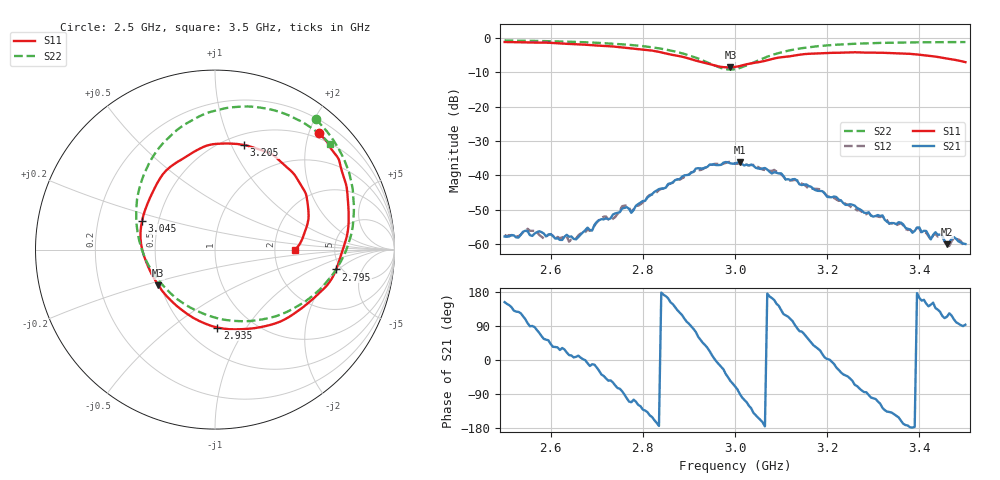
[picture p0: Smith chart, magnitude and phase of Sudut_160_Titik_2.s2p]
# Hz S RI R 50
! CMT, C1220, 16058040, 17.2.0/1
! Date: 15/08/2018 10:50:10
! Data: Format (Calibration Info)
! Freq  S11: Re/Im (F2)  S21: Re/Im (F2)  S12: Re/Im (F2)  S22: Re/Im (F2)
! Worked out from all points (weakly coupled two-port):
!   201 points, 2.5 GHz to 3.5 GHz, reference 50 ohm
!   highest |S21| = -36.12 dB at 3.01 GHz (marker M1); lowest = -60.1 dB at 3.46 GHz (marker M2)
!   lowest |S11| = -8.6 dB at 2.99 GHz (marker M3), VSWR 2.19, Z = 24.3 - j11.2 ohm
!   |S11| at or under -10 dB: nowhere
!   |S22| runs from -9.2 to -0.7 dB; largest |S21 - S12| = 0.001
!   S11 on the Smith chart (normalised r, x): 2.5 GHz: 0.40, +2.17; 2.795 GHz: 4.52, -1.87; 2.935 GHz: 0.70, -0.75; 3.045 GHz: 0.40, +0.16; 3.205 GHz: 0.61, +1.11; 3.5 GHz: 2.60, -0.02
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2.5e9  0.5804 0.6499  -0.00114 0.000589  -0.00123 0.000571  0.5624 0.726
2.55e9  0.6369 0.5766  -0.00019 0.00152  -0.000318 0.00164  0.6183 0.6652
2.64e9  0.7269 0.374  0.00125 0.000284  0.00105 0.000271  0.7114 0.5187
2.67e9  0.7376 0.3121  0.00148 5.41e-05  0.00142 -2.02e-05  0.7376 0.4553
2.755e9  0.7256 0.0424  0.000427 -0.00326  0.000634 -0.0035  0.7742 0.2296
2.775e9  0.7036 -0.0264  -0.00104 -0.00265  -0.00118 -0.0027  0.7711 0.1629
2.795e9  0.6752 -0.1103  -0.00215 -0.00341  -0.0021 -0.00316  0.7609 0.0926
2.835e9  0.5755 -0.2474  -0.00628 -0.000666  -0.00605 -0.000835  0.7019 -0.0646
2.935e9  0.0128 -0.4341  0.00997 0.00821  0.00961 0.00861  0.2264 -0.3943
2.99e9  -0.3156 -0.1989  0.0085 -0.0123  0.00921 -0.0127  -0.2108 -0.2758
3e9  -0.3537 -0.1353  0.00511 -0.0138  0.00443 -0.0141  -0.2765 -0.2142
3.01e9  -0.3835 -0.0673  0.000364 -0.0156  0.000374 -0.0149  -0.3342 -0.1458
3.045e9  -0.4065 0.1582  -0.0106 -0.00724  -0.0111 -0.00779  -0.4359 0.1306
3.1e9  -0.254 0.457  -0.00718 0.00796  -0.00663 0.00806  -0.3541 0.5044
3.17e9  0.0278 0.5903  0.00493 0.00401  0.00467 0.00437  -0.0916 0.7402
3.205e9  0.1595 0.5831  0.00482 9.05e-05  0.00487 -0.000244  0.0362 0.7826
3.335e9  0.4645 0.384  -0.00147 -0.00136  -0.0015 -0.00128  0.3904 0.7562
3.4e9  0.519 0.2348  -0.00168 0.000475  -0.00161 0.000538  0.5082 0.6972
3.425e9  0.5202 0.1666  -0.000972 0.000655  -0.000949 0.000661  0.5469 0.672
3.435e9  0.5151 0.1432  -0.00109 0.00101  -0.00101 0.000973  0.5616 0.6597
3.46e9  0.494 0.0805  -0.000408 0.000904  -0.000434 0.000873  0.5962 0.6327
3.5e9  0.4444 -0.00256  -5.32e-05 0.001  1.77e-05 0.000931  0.6434 0.5856
